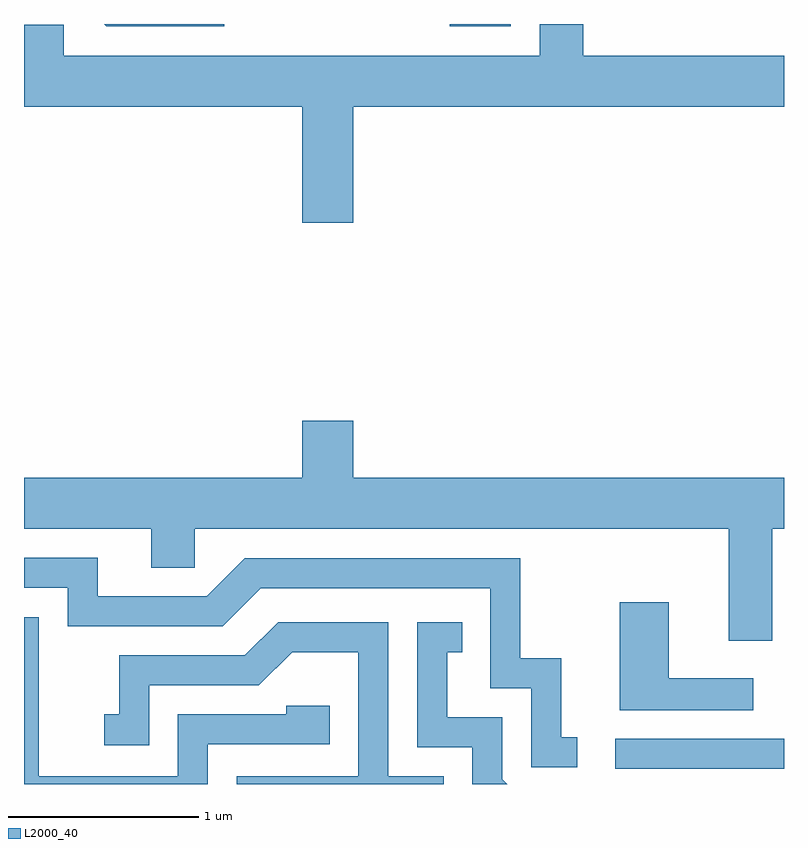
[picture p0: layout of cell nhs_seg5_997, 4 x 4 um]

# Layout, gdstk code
import gdstk
lib = gdstk.Library(unit=1e-6, precision=1e-09)
def R(c, l, rs):  # rectangles x0, y0, x1, y1
    for r in rs: c.add(gdstk.rectangle(r[:2], r[2:], *l))
def P(c, l, *ps):  # polygons
    for p in ps: c.add(gdstk.Polygon(p, *l))
L2000_40 = (2000, 40)

nhs_seg5_997 = lib.new_cell('nhs_seg5_997')
R(nhs_seg5_997, L2000_40, [(216.723,1502.151,217.611,1502.309), (215.853,1506.061,216.174,1506.072)])
P(nhs_seg5_997, L2000_40, [(213.611,1506.069),(213.611,1505.636),(215.076,1505.636),(215.076,1505.026),(215.344,1505.026),(215.344,1505.636),(217.611,1505.636),(217.611,1505.904),(216.554,1505.904),(216.554,1506.072),(216.326,1506.072),(216.326,1505.904),(213.819,1505.904),(213.819,1506.069)],
  [(214.664,1506.072),(214.033,1506.072),(214.044,1506.061),(214.664,1506.061)],
  [(217.549,1503.416),(217.611,1503.416),(217.611,1503.684),(215.344,1503.684),(215.344,1503.984),(215.076,1503.984),(215.076,1503.684),(213.611,1503.684),(213.611,1503.416),(214.281,1503.416),(214.281,1503.211),(214.509,1503.211),(214.509,1503.416),(217.321,1503.416),(217.321,1502.826),(217.549,1502.826)],
  [(216.523,1502.319),(216.439,1502.319),(216.439,1502.734),(216.224,1502.734),(216.224,1503.259),(214.774,1503.259),(214.574,1503.059),(213.999,1503.059),(213.999,1503.264),(213.611,1503.264),(213.611,1503.106),(213.841,1503.106),(213.841,1502.901),(214.657,1502.901),(214.857,1503.101),(216.066,1503.101),(216.066,1502.576),(216.281,1502.576),(216.281,1502.161),(216.523,1502.161)],
  [(217.448,1502.629),(217.004,1502.629),(217.004,1503.029),(216.746,1503.029),(216.746,1502.461),(217.448,1502.461)],
  [(214.579,1502.281),(215.219,1502.281),(215.219,1502.484),(214.991,1502.484),(214.991,1502.439),(214.421,1502.439),(214.421,1502.114),(213.689,1502.114),(213.689,1502.949),(213.611,1502.949),(213.611,1502.072),(214.579,1502.072)],
  [(216.129,1502.097),(216.129,1502.424),(215.839,1502.424),(215.839,1502.766),(215.918,1502.766),(215.918,1502.924),(215.681,1502.924),(215.681,1502.266),(215.971,1502.266),(215.971,1502.072),(216.154,1502.072)],
  [(215.819,1502.114),(215.529,1502.114),(215.529,1502.924),(214.949,1502.924),(214.774,1502.749),(214.111,1502.749),(214.111,1502.439),(214.033,1502.439),(214.033,1502.276),(214.269,1502.276),(214.269,1502.591),(214.847,1502.591),(215.022,1502.766),(215.371,1502.766),(215.371,1502.114),(214.731,1502.114),(214.731,1502.072),(215.819,1502.072)])

lib.write_gds('nhs_seg5_997.gds')
